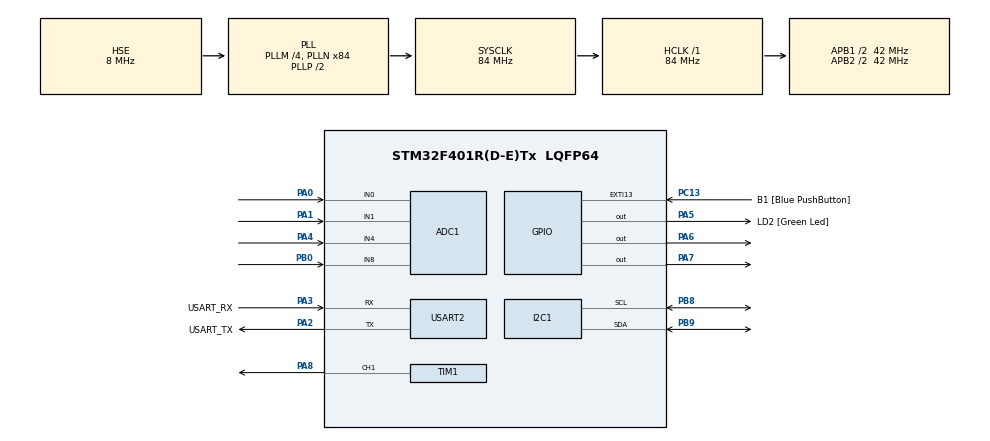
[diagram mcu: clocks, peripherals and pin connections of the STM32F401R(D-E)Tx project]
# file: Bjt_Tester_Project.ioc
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ADC1.Channel-0\#ChannelRegularConversion=ADC_CHANNEL_0
ADC1.ClockPrescaler=ADC_CLOCK_SYNC_PCLK_DIV2
ADC1.ContinuousConvMode=ENABLE
ADC1.InjNumberOfConversion=0
ADC1.NbrOfConversionFlag=1
ADC1.Rank-0\#ChannelRegularConversion=1
ADC1.SamplingTime-0\#ChannelRegularConversion=ADC_SAMPLETIME_3CYCLES
ADC1.master=1
Mcu.Family=STM32F4
Mcu.Name=STM32F401R(D-E)Tx
Mcu.Package=LQFP64
NVIC.PVD_IRQn=true\:0\:0\:false\:false\:true\:true\:true\:true
NVIC.PriorityGroup=NVIC_PRIORITYGROUP_0
PA0-WKUP.Signal=ADCx_IN0
PA1.Signal=ADCx_IN1
PA13.GPIO_Label=TMS
PA13.Mode=Serial_Wire
PA13.Signal=SYS_JTMS-SWDIO
PA14.GPIO_Label=TCK
PA14.Mode=Serial_Wire
PA14.Signal=SYS_JTCK-SWCLK
PA2.GPIO_Label=USART_TX
PA2.GPIO_Mode=GPIO_MODE_AF_PP
PA2.GPIO_PuPd=GPIO_NOPULL
PA2.GPIO_Speed=GPIO_SPEED_FREQ_LOW
PA2.Mode=Asynchronous
PA2.Signal=USART2_TX
PA3.GPIO_Label=USART_RX
PA3.GPIO_Mode=GPIO_MODE_AF_PP
PA3.GPIO_PuPd=GPIO_NOPULL
PA3.GPIO_Speed=GPIO_SPEED_FREQ_LOW
PA3.Mode=Asynchronous
PA3.Signal=USART2_RX
PA4.Signal=ADCx_IN4
PA5.GPIO_Label=LD2 [Green Led]
PA5.GPIO_Mode=GPIO_MODE_OUTPUT_PP
PA5.GPIO_PuPd=GPIO_NOPULL
PA5.GPIO_Speed=GPIO_SPEED_FREQ_LOW
PA5.Signal=GPIO_Output
PA6.Signal=GPIO_Output
PA7.Signal=GPIO_Output
PA8.Signal=S_TIM1_CH1
PB0.Signal=ADCx_IN8
PB3.GPIO_Label=SWO
PB3.Signal=SYS_JTDO-SWO
PB8.Mode=I2C
PB8.Signal=I2C1_SCL
PB9.Mode=I2C
PB9.Signal=I2C1_SDA
PC13-ANTI_TAMP.GPIO_Label=B1 [Blue PushButton]
PC13-ANTI_TAMP.GPIO_ModeDefaultEXTI=GPIO_MODE_IT_FALLING
PC13-ANTI_TAMP.GPIO_PuPd=GPIO_NOPULL
PC13-ANTI_TAMP.Signal=GPXTI13
PC14-OSC32_IN.Signal=RCC_OSC32_IN
PC15-OSC32_OUT.Signal=RCC_OSC32_OUT
PH0\ -\ OSC_IN.Mode=HSE-External-Oscillator
PH0\ -\ OSC_IN.Signal=RCC_OSC_IN
PH1\ -\ OSC_OUT.Mode=HSE-External-Oscillator
PH1\ -\ OSC_OUT.Signal=RCC_OSC_OUT
ProjectManager.HeapSize=0x200
ProjectManager.StackSize=0x400
ProjectManager.TargetToolchain=STM32CubeIDE
RCC.48MHZClocksFreq_Value=24000000
RCC.AHBFreq_Value=84000000
RCC.APB1CLKDivider=RCC_HCLK_DIV2
RCC.APB1Freq_Value=42000000
RCC.APB1TimFreq_Value=84000000
RCC.APB2CLKDivider=RCC_HCLK_DIV2
RCC.APB2Freq_Value=42000000
RCC.APB2TimFreq_Value=84000000
RCC.CortexFreq_Value=84000000
RCC.EnbaleCSS=false
RCC.HCLKFreq_Value=84000000
RCC.HSE_VALUE=8000000
RCC.HSI_VALUE=16000000
RCC.LSE_VALUE=32768
RCC.PLLM=4
RCC.PLLN=84
RCC.PLLQ=7
RCC.PLLSourceVirtual=RCC_PLLSOURCE_HSE
RCC.SYSCLKFreq_VALUE=84000000
RCC.SYSCLKSource=RCC_SYSCLKSOURCE_PLLCLK
RCC.VCOOutputFreq_Value=168000000
SH.ADCx_IN0.0=ADC1_IN0,IN0
SH.ADCx_IN1.0=ADC1_IN1,IN1
SH.ADCx_IN4.0=ADC1_IN4,IN4
SH.ADCx_IN8.0=ADC1_IN8,IN8
SH.S_TIM1_CH1.0=TIM1_CH1,PWM Generation1 CH1
TIM1.Channel-PWM\ Generation1\ CH1=TIM_CHANNEL_1
TIM1.Period=100
TIM1.Prescaler=83
USART2.VirtualMode=VM_ASYNC
board=NUCLEO-F401RE

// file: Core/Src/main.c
/* USER CODE BEGIN Header */
/**
 ******************************************************************************
 * @file           : main.c
 * @brief          : Main program body
 ******************************************************************************
 * @attention
 *
 * Copyright (c) 2024 STMicroelectronics.
 * All rights reserved.
 *
 * This software is licensed under terms that can be found in the LICENSE file
 * in the root directory of this software component.
 * If no LICENSE file comes with this software, it is provided AS-IS.
 *
 ******************************************************************************
 */
/* USER CODE END Header */
#include "main.h"

/* USER CODE BEGIN Includes */
#include"math.h"
/* USER CODE END Includes */

ADC_HandleTypeDef hadc1;

I2C_HandleTypeDef hi2c1;

TIM_HandleTypeDef htim1;

UART_HandleTypeDef huart2;

/* USER CODE BEGIN PV */
int voltage2 = 0;
int voltage1 = 0;
int voltage3 = 0;

int Ic = 0;
int Ib = 0;

double Iac = 0.0;
double Iab = 0.0;

int cnt = 0;

int B = 0;
int B3 = 0;

int volt2 = 0;
int volt1 = 0;
int volt3 = 0;
int flag = 0;

int difference = 0;
int difference1 = 0;
int difference2 = 0;
int threshold = 868;

int row = 0;
int col = 0;

char npn0[] = "BJT Is NPN EBC    ";
char npn1[] = "BJT Is NPN CBE    ";
char pnp0[] = "BJT IS PNP  EBC   ";
char pnp1[] = "BJT IS PNP  CBE   ";
char error[] = "There is not BJT ";
char er[] = "ERROR";

char B1[20] = "";
char B2[20] = "";
char volta[20] = "";
/* USER CODE END PV */

void SystemClock_Config(void);
static void MX_GPIO_Init(void);
static void MX_USART2_UART_Init(void);
static void MX_ADC1_Init(void);
static void MX_TIM1_Init(void);
static void MX_I2C1_Init(void);

/* USER CODE BEGIN 0 */
uint32_t Read_ADC(uint32_t channel) {
	ADC_ChannelConfTypeDef sConfig = { 0 };
	sConfig.Channel = channel;
	sConfig.Rank = 1;

	// ADC kanalını seç ve başlat
	HAL_ADC_ConfigChannel(&hadc1, &sConfig);
	HAL_ADC_Start(&hadc1);
	HAL_ADC_PollForConversion(&hadc1, HAL_MAX_DELAY);
	uint32_t adc_value = HAL_ADC_GetValue(&hadc1);
	HAL_ADC_Stop(&hadc1);
	return adc_value;
}

/* USER CODE END 0 */

int main(void) {

	/* MCU Configuration--------------------------------------------------------*/

	/* Reset of all peripherals, Initializes the Flash interface and the Systick. */
	HAL_Init();

	/* Configure the system clock */
	SystemClock_Config();

	/* Initialize all configured peripherals */
	MX_GPIO_Init();
	MX_USART2_UART_Init();
	MX_ADC1_Init();
	MX_TIM1_Init();
	MX_I2C1_Init();
	/* USER CODE BEGIN 2 */
	lcd_init();

	HAL_TIM_PWM_Start(&htim1, TIM_CHANNEL_1);
	__HAL_TIM_SET_COMPARE(&htim1, TIM_CHANNEL_1, 0);
	HAL_GPIO_WritePin(GPIOA, GPIO_PIN_6, 0);
	HAL_GPIO_WritePin(GPIOA, GPIO_PIN_7, 0);

	/* USER CODE END 2 */

	/* Infinite loop */
	while (1) {

		/* USER CODE BEGIN 3 */
		flag = 0;
		// HAL_GPIO_WritePin(GPIOA, GPIO_PIN_4, 1);
		__HAL_TIM_SET_COMPARE(&htim1, TIM_CHANNEL_1, 100);
		HAL_GPIO_WritePin(GPIOA, GPIO_PIN_7, 0);

		HAL_Delay(100);

		voltage2 = Read_ADC(ADC_CHANNEL_0);
		volt2 = (voltage2 / 1023 * 5.0);

		//HAL_GPIO_WritePin(GPIOA, GPIO_PIN_4, 0);
		__HAL_TIM_SET_COMPARE(&htim1, TIM_CHANNEL_1, 0);
		HAL_GPIO_WritePin(GPIOA, GPIO_PIN_7, 1);

		HAL_Delay(100);

		voltage3 = Read_ADC(ADC_CHANNEL_8);

		difference = abs(voltage3 - voltage2);

		if (difference < threshold) {
			HAL_UART_Transmit(&huart2, error, strlen(error), 100);
			lcd_put_cur(0, 0);
			lcd_send_string(error);
			HAL_Delay(300);
		}

		//BJT İS NPN
		else if (voltage3 > voltage2) {

			__HAL_TIM_SET_COMPARE(&htim1, TIM_CHANNEL_1, 100);
			HAL_GPIO_WritePin(GPIOA, GPIO_PIN_6, 1);
			HAL_GPIO_WritePin(GPIOA, GPIO_PIN_7, 0);

			HAL_Delay(100);

			voltage2 = Read_ADC(ADC_CHANNEL_0);
			volt2 = (voltage2 / 1023 * 5.0);

			voltage3 = Read_ADC(ADC_CHANNEL_8);
			volt3 = (voltage3 / 1023 * 5.0);

			difference1 = abs(voltage3 - voltage2); //voltage difference between pin2 and pin3

			HAL_Delay(100);

			HAL_GPIO_WritePin(GPIOA, GPIO_PIN_6, 0);
			__HAL_TIM_SET_COMPARE(&htim1, TIM_CHANNEL_1, 100);
			HAL_GPIO_WritePin(GPIOA, GPIO_PIN_7, 1);

			HAL_Delay(100);

			voltage1 = Read_ADC(ADC_CHANNEL_1);
			volt1 = (voltage1 / 1023 * 5.0);

			voltage2 = Read_ADC(ADC_CHANNEL_0);
			volt2 = (voltage2 / 1023 * 5.0);

			difference2 = abs(voltage2 - voltage1); //voltage difference between pin1 and pin2

			if (difference1 > difference2) {
				HAL_UART_Transmit(&huart2, npn1, strlen(npn1), 100);  //npn cbe

				lcd_put_cur(0, 0);
				lcd_send_string(npn1);
				HAL_Delay(300);
//**********************************************************
				//b HESABI için confg
				HAL_GPIO_WritePin(GPIOA, GPIO_PIN_6, 1);
				__HAL_TIM_SET_COMPARE(&htim1, TIM_CHANNEL_1, 100);
				HAL_GPIO_WritePin(GPIOA, GPIO_PIN_7, 0);
				voltage1 = Read_ADC(ADC_CHANNEL_1);

				volt1 = (voltage1 / 4095 * 3.3);			 //vc

				voltage2 = Read_ADC(ADC_CHANNEL_0);
				volt2 = (voltage2 / 4095 * 3.3);			 //vb

				Ic = abs(voltage1 - 4095);
				Ib = abs(voltage2 - 4095);
				B = Ic / Ib;
				sprintf(B1, "Bs= %d", B);
				lcd_put_cur(1, 0);
				lcd_send_string(B1);

				HAL_GPIO_WritePin(GPIOA, GPIO_PIN_6, 1);
				__HAL_TIM_SET_COMPARE(&htim1, TIM_CHANNEL_1, 31);
				HAL_GPIO_WritePin(GPIOA, GPIO_PIN_7, 0);
				Ic = 0;
				Ib = 0;
				B3 = 0;
				while (1) {

					if (flag == 10) {
						break;
					}

					voltage2 = Read_ADC(ADC_CHANNEL_0);
					voltage1 = Read_ADC(ADC_CHANNEL_1);
					Ic = abs(voltage1 - 4095);
					Ib = abs(voltage2 - 1241);
					B3 = Ic / Ib;
					sprintf(B2,
							"Ba= %d voltage2=%d    voltateg1=%d   Ib=%d  ıc=%d\n\r",
							B3, voltage2, voltage1, Ib, Ic);
					sprintf(volta, "Ba= %d   ", B3);
					lcd_put_cur(1, 6);
					lcd_send_string(volta);
					HAL_UART_Transmit(&huart2, B2, strlen(B2), 1000);
					flag++;
					HAL_Delay(1000);

				}
				//***********************************************************
			}

			else if (difference1 <= difference2) {
				HAL_UART_Transmit(&huart2, npn0, strlen(npn0), 100);//npn ebc
				// lcd_init ();
				//lcd_clear();
				lcd_put_cur(0, 0);
				lcd_send_string(npn0);
				HAL_Delay(300);
				//**********************************************************
				//b HESABI için confg
				HAL_GPIO_WritePin(GPIOA, GPIO_PIN_6, 0);
				__HAL_TIM_SET_COMPARE(&htim1, TIM_CHANNEL_1, 100);
				// HAL_GPIO_WritePin(GPIOA, GPIO_PIN_4, 1);
				HAL_GPIO_WritePin(GPIOA, GPIO_PIN_7, 1);
				voltage1 = Read_ADC(ADC_CHANNEL_8);

				volt1 = (voltage1 / 4095 * 3.3);			 				//vc

				voltage2 = Read_ADC(ADC_CHANNEL_0);
				volt2 = (voltage2 / 4095 * 3.3);			 				//vb

				Ic = abs(voltage1 - 4095);
				Ib = abs(voltage2 - 4095);
				B = Ic / Ib;
				sprintf(B1, "Bs= %d", B);
				lcd_put_cur(1, 0);
				lcd_send_string(B1);
				//lcd_send_data(B);

				HAL_GPIO_WritePin(GPIOA, GPIO_PIN_6, 0);
				__HAL_TIM_SET_COMPARE(&htim1, TIM_CHANNEL_1, 31);
				HAL_GPIO_WritePin(GPIOA, GPIO_PIN_7, 1);
				Ic = 0;
				Ib = 0;
				B3 = 0;

				while (1) {

					if (flag == 10) {
						break;
					}

					voltage2 = Read_ADC(ADC_CHANNEL_0);

					//	volt2 = (voltage2/4095*3.3);//vb

					voltage1 = Read_ADC(ADC_CHANNEL_8);

					//volt1 = (voltage1/4095*3.3);//vc

					Ic = abs(voltage1 - 4095);
					Ib = abs(voltage2 - 1241);
					//									 Iac=Ic/2000;

					B3 = Ic / Ib;

					// B3=Ic/Ib;
					sprintf(B2,
							"Ba= %d voltage2=%d    voltateg1=%d   Ib=%d  ıc=%d\n\r",
							B3, voltage2, voltage1, Ib, Ic);
					sprintf(volta, "Ba= %d    ", B3);
					lcd_put_cur(1, 8);
					lcd_send_string(volta);
					HAL_UART_Transmit(&huart2, B2, strlen(B2), 1000);

					HAL_Delay(1000);

					flag++;

				}

			}

		}
		//bjt pnp
		else if (voltage3 < voltage2) {
			HAL_GPIO_WritePin(GPIOA, GPIO_PIN_6, 1);
			__HAL_TIM_SET_COMPARE(&htim1, TIM_CHANNEL_1, 0);
			//HAL_GPIO_WritePin(GPIOA, GPIO_PIN_4, 0);
			HAL_GPIO_WritePin(GPIOA, GPIO_PIN_7, 0);

			HAL_Delay(100);

			voltage2 = Read_ADC(ADC_CHANNEL_0);
			// volt2 = (voltage2/1023*5.0);
			voltage1 = Read_ADC(ADC_CHANNEL_1);

			// volt1 = (voltage1/1023*5.0);
			difference1 = abs(voltage1 - voltage2); //voltage difference between pin2 and pin1

			HAL_Delay(100);

			HAL_GPIO_WritePin(GPIOA, GPIO_PIN_6, 0);
			__HAL_TIM_SET_COMPARE(&htim1, TIM_CHANNEL_1, 0);
			//HAL_GPIO_WritePin(GPIOA, GPIO_PIN_4, 0);
			HAL_GPIO_WritePin(GPIOA, GPIO_PIN_7, 1);

			HAL_Delay(100);

			voltage3 = Read_ADC(ADC_CHANNEL_8);
			// volt3 = (voltage3/1023*5.0);

			voltage2 = Read_ADC(ADC_CHANNEL_0);
			//volt2 = (voltage2/1023*5.0);

			difference2 = abs(voltage2 - voltage3); //voltage difference between pin3 and pin2

			if (difference1 > difference2) {
				HAL_UART_Transmit(&huart2, pnp0, strlen(pnp0), 100);
				// lcd_init ();
				//lcd_clear();
				lcd_put_cur(0, 0);
				lcd_send_string(pnp0);
				HAL_Delay(300);
				//****************************
				//b HESABI için confg
				HAL_GPIO_WritePin(GPIOA, GPIO_PIN_6, 1);
				__HAL_TIM_SET_COMPARE(&htim1, TIM_CHANNEL_1, 0);
				// HAL_GPIO_WritePin(GPIOA, GPIO_PIN_4, 1);
				HAL_GPIO_WritePin(GPIOA, GPIO_PIN_7, 0);
				voltage1 = Read_ADC(ADC_CHANNEL_8);

				volt1 = (voltage1 / 4095 * 3.3);							//vc

				voltage2 = Read_ADC(ADC_CHANNEL_0);
				volt2 = (voltage2 / 4095 * 3.3);							//vb

				Ic = abs(voltage1 - 0);
				Ib = abs(voltage2 - 0);
				B = Ic / Ib;
				sprintf(B1, "Bs= %d", B);
				lcd_put_cur(1, 0);
				lcd_send_string(B1);
				//lcd_send_data(B);

				HAL_GPIO_WritePin(GPIOA, GPIO_PIN_6, 1);
				__HAL_TIM_SET_COMPARE(&htim1, TIM_CHANNEL_1, 62);
				HAL_GPIO_WritePin(GPIOA, GPIO_PIN_7, 0);
				Ic = 0;
				Ib = 0;
				B3 = 0;
				while (1) {

					if (flag == 10) {
						break;
					}

					voltage2 = Read_ADC(ADC_CHANNEL_0);

					//	volt2 = (voltage2/4095*3.3);//vb

					voltage1 = Read_ADC(ADC_CHANNEL_8);

					//volt1 = (voltage1/4095*3.3);//vc

					Ic = abs(voltage1 - 0);
					Ib = abs(voltage2 - 2482);
					//									 Iac=Ic/2000;

					B3 = Ic / Ib;

					// B3=Ic/Ib;
					sprintf(B2,
							"Ba= %d voltage2=%d    voltateg1=%d   Ib=%d  ıc=%d\n\r",
							B3, voltage2, voltage1, Ib, Ic);
					sprintf(volta, "Ba= %d    ", B3);
					lcd_put_cur(1, 6);
					lcd_send_string(volta);
					HAL_UART_Transmit(&huart2, B2, strlen(B2), 1000);
					flag++;
					HAL_Delay(1000);

				}
				//********************
			} else if (difference1 <= difference2) {
				HAL_UART_Transmit(&huart2, pnp1, strlen(pnp1), 100);
				//lcd_init ();
				// lcd_clear();
				lcd_put_cur(0, 0);
				lcd_send_string(pnp1);
				HAL_Delay(300);
				//****************************
				//b HESABI için confg
				HAL_GPIO_WritePin(GPIOA, GPIO_PIN_6, 0);
				__HAL_TIM_SET_COMPARE(&htim1, TIM_CHANNEL_1, 0);
				// HAL_GPIO_WritePin(GPIOA, GPIO_PIN_4, 1);
				HAL_GPIO_WritePin(GPIOA, GPIO_PIN_7, 1);
				voltage1 = Read_ADC(ADC_CHANNEL_1);

				volt1 = (voltage1 / 4095 * 3.3);							//vc

				voltage2 = Read_ADC(ADC_CHANNEL_0);
				volt2 = (voltage2 / 4095 * 3.3);							//vb

				Ic = abs(voltage1 - 0);
				Ib = abs(voltage2 - 0);
				B = Ic / Ib;
				sprintf(B1, "Bs= %d", B);
				lcd_put_cur(1, 0);
				lcd_send_string(B1);
				//lcd_send_data(B);

				HAL_GPIO_WritePin(GPIOA, GPIO_PIN_6, 0);
				__HAL_TIM_SET_COMPARE(&htim1, TIM_CHANNEL_1, 62);
				HAL_GPIO_WritePin(GPIOA, GPIO_PIN_7, 1);
				Ic = 0;
				Ib = 0;
				B3 = 0;
				while (1) {

					if (flag == 10) {
						break;
					}

					voltage2 = Read_ADC(ADC_CHANNEL_0);

					//	volt2 = (voltage2/4095*3.3);//vb

					voltage1 = Read_ADC(ADC_CHANNEL_1);

					//volt1 = (voltage1/4095*3.3);//vc

					Ic = abs(voltage1 - 0);
					Ib = abs(voltage2 - 2482);
					//									 Iac=Ic/2000;

					B3 = Ic / Ib;

					// B3=Ic/Ib;
					sprintf(B2,
							"Ba= %d voltage2=%d    voltateg1=%d   Ib=%d  ıc=%d\n\r",
							B3, voltage2, voltage1, Ib, Ic);
					sprintf(volta, "Ba= %d    ", B3);
					lcd_put_cur(1, 6);
					lcd_send_string(volta);
					HAL_UART_Transmit(&huart2, B2, strlen(B2), 1000);
					flag++;
					HAL_Delay(1000);

				}

			}

		}

		else {
			HAL_UART_Transmit(&huart2, er, strlen(er), 100);
			//lcd_init ();
			// lcd_clear();
			lcd_put_cur(0, 0);
			lcd_send_string(er);
		}

	}
	/* USER CODE END 3 */
}

void SystemClock_Config(void) {
	RCC_OscInitTypeDef RCC_OscInitStruct = { 0 };
	RCC_ClkInitTypeDef RCC_ClkInitStruct = { 0 };

	/** Configure the main internal regulator output voltage
	 */
	__HAL_RCC_PWR_CLK_ENABLE();
	__HAL_PWR_VOLTAGESCALING_CONFIG(PWR_REGULATOR_VOLTAGE_SCALE2);

	/** Initializes the RCC Oscillators according to the specified parameters
	 * in the RCC_OscInitTypeDef structure.
	 */
	RCC_OscInitStruct.OscillatorType = RCC_OSCILLATORTYPE_HSE;
	RCC_OscInitStruct.HSEState = RCC_HSE_ON;
	RCC_OscInitStruct.PLL.PLLState = RCC_PLL_ON;
	RCC_OscInitStruct.PLL.PLLSource = RCC_PLLSOURCE_HSE;
	RCC_OscInitStruct.PLL.PLLM = 4;
	RCC_OscInitStruct.PLL.PLLN = 84;
	RCC_OscInitStruct.PLL.PLLP = RCC_PLLP_DIV2;
	RCC_OscInitStruct.PLL.PLLQ = 7;
	if (HAL_RCC_OscConfig(&RCC_OscInitStruct) != HAL_OK) {
		Error_Handler();
	}

	/** Initializes the CPU, AHB and APB buses clocks
	 */
	RCC_ClkInitStruct.ClockType = RCC_CLOCKTYPE_HCLK | RCC_CLOCKTYPE_SYSCLK
			| RCC_CLOCKTYPE_PCLK1 | RCC_CLOCKTYPE_PCLK2;
	RCC_ClkInitStruct.SYSCLKSource = RCC_SYSCLKSOURCE_PLLCLK;
	RCC_ClkInitStruct.AHBCLKDivider = RCC_SYSCLK_DIV1;
	RCC_ClkInitStruct.APB1CLKDivider = RCC_HCLK_DIV2;
	RCC_ClkInitStruct.APB2CLKDivider = RCC_HCLK_DIV2;

	if (HAL_RCC_ClockConfig(&RCC_ClkInitStruct, FLASH_LATENCY_2) != HAL_OK) {
		Error_Handler();
	}
}

static void MX_ADC1_Init(void) {

	ADC_ChannelConfTypeDef sConfig = { 0 };

	/** Configure the global features of the ADC (Clock, Resolution, Data Alignment and number of conversion)
	 */
	hadc1.Instance = ADC1;
	hadc1.Init.ClockPrescaler = ADC_CLOCK_SYNC_PCLK_DIV2;
	hadc1.Init.Resolution = ADC_RESOLUTION_12B;
	hadc1.Init.ScanConvMode = DISABLE;
	hadc1.Init.ContinuousConvMode = ENABLE;
	hadc1.Init.DiscontinuousConvMode = DISABLE;
	hadc1.Init.ExternalTrigConvEdge = ADC_EXTERNALTRIGCONVEDGE_NONE;
	hadc1.Init.ExternalTrigConv = ADC_SOFTWARE_START;
	hadc1.Init.DataAlign = ADC_DATAALIGN_RIGHT;
	hadc1.Init.NbrOfConversion = 1;
	hadc1.Init.DMAContinuousRequests = DISABLE;
	hadc1.Init.EOCSelection = ADC_EOC_SINGLE_CONV;
	if (HAL_ADC_Init(&hadc1) != HAL_OK) {
		Error_Handler();
	}

	/** Configure for the selected ADC regular channel its corresponding rank in the sequencer and its sample time.
	 */
	sConfig.Channel = ADC_CHANNEL_0;
	sConfig.Rank = 1;
	sConfig.SamplingTime = ADC_SAMPLETIME_3CYCLES;
	if (HAL_ADC_ConfigChannel(&hadc1, &sConfig) != HAL_OK) {
		Error_Handler();
	}

}

static void MX_I2C1_Init(void) {

	hi2c1.Instance = I2C1;
	hi2c1.Init.ClockSpeed = 100000;
	hi2c1.Init.DutyCycle = I2C_DUTYCYCLE_2;
	hi2c1.Init.OwnAddress1 = 0;
	hi2c1.Init.AddressingMode = I2C_ADDRESSINGMODE_7BIT;
	hi2c1.Init.DualAddressMode = I2C_DUALADDRESS_DISABLE;
	hi2c1.Init.OwnAddress2 = 0;
	hi2c1.Init.GeneralCallMode = I2C_GENERALCALL_DISABLE;
	hi2c1.Init.NoStretchMode = I2C_NOSTRETCH_DISABLE;
	if (HAL_I2C_Init(&hi2c1) != HAL_OK) {
		Error_Handler();
	}

}

static void MX_TIM1_Init(void) {

	TIM_MasterConfigTypeDef sMasterConfig = { 0 };
	TIM_OC_InitTypeDef sConfigOC = { 0 };
	TIM_BreakDeadTimeConfigTypeDef sBreakDeadTimeConfig = { 0 };

	htim1.Instance = TIM1;
	htim1.Init.Prescaler = 83;
	htim1.Init.CounterMode = TIM_COUNTERMODE_UP;
	htim1.Init.Period = 100;
	htim1.Init.ClockDivision = TIM_CLOCKDIVISION_DIV1;
	htim1.Init.RepetitionCounter = 0;
	htim1.Init.AutoReloadPreload = TIM_AUTORELOAD_PRELOAD_DISABLE;
	if (HAL_TIM_PWM_Init(&htim1) != HAL_OK) {
		Error_Handler();
	}
	sMasterConfig.MasterOutputTrigger = TIM_TRGO_RESET;
	sMasterConfig.MasterSlaveMode = TIM_MASTERSLAVEMODE_DISABLE;
	if (HAL_TIMEx_MasterConfigSynchronization(&htim1, &sMasterConfig)
			!= HAL_OK) {
		Error_Handler();
	}
	sConfigOC.OCMode = TIM_OCMODE_PWM1;
	sConfigOC.Pulse = 0;
	sConfigOC.OCPolarity = TIM_OCPOLARITY_HIGH;
	sConfigOC.OCNPolarity = TIM_OCNPOLARITY_HIGH;
	sConfigOC.OCFastMode = TIM_OCFAST_DISABLE;
	sConfigOC.OCIdleState = TIM_OCIDLESTATE_RESET;
	sConfigOC.OCNIdleState = TIM_OCNIDLESTATE_RESET;
	if (HAL_TIM_PWM_ConfigChannel(&htim1, &sConfigOC, TIM_CHANNEL_1)
			!= HAL_OK) {
		Error_Handler();
	}
	sBreakDeadTimeConfig.OffStateRunMode = TIM_OSSR_DISABLE;
	sBreakDeadTimeConfig.OffStateIDLEMode = TIM_OSSI_DISABLE;
	sBreakDeadTimeConfig.LockLevel = TIM_LOCKLEVEL_OFF;
	sBreakDeadTimeConfig.DeadTime = 0;
	sBreakDeadTimeConfig.BreakState = TIM_BREAK_DISABLE;
	sBreakDeadTimeConfig.BreakPolarity = TIM_BREAKPOLARITY_HIGH;
	sBreakDeadTimeConfig.AutomaticOutput = TIM_AUTOMATICOUTPUT_DISABLE;
	if (HAL_TIMEx_ConfigBreakDeadTime(&htim1, &sBreakDeadTimeConfig)
			!= HAL_OK) {
		Error_Handler();
	}
	HAL_TIM_MspPostInit(&htim1);

}

static void MX_USART2_UART_Init(void) {

	huart2.Instance = USART2;
	huart2.Init.BaudRate = 115200;
	huart2.Init.WordLength = UART_WORDLENGTH_8B;
	huart2.Init.StopBits = UART_STOPBITS_1;
	huart2.Init.Parity = UART_PARITY_NONE;
	huart2.Init.Mode = UART_MODE_TX_RX;
	huart2.Init.HwFlowCtl = UART_HWCONTROL_NONE;
	huart2.Init.OverSampling = UART_OVERSAMPLING_16;
	if (HAL_UART_Init(&huart2) != HAL_OK) {
		Error_Handler();
	}

}

static void MX_GPIO_Init(void) {
	GPIO_InitTypeDef GPIO_InitStruct = { 0 };

	/* GPIO Ports Clock Enable */
	__HAL_RCC_GPIOC_CLK_ENABLE();
	__HAL_RCC_GPIOH_CLK_ENABLE();
	__HAL_RCC_GPIOA_CLK_ENABLE();
	__HAL_RCC_GPIOB_CLK_ENABLE();

	/*Configure GPIO pin Output Level */
	HAL_GPIO_WritePin(GPIOA, LD2_Pin | GPIO_PIN_6 | GPIO_PIN_7, GPIO_PIN_RESET);

	/*Configure GPIO pin : B1_Pin */
	GPIO_InitStruct.Pin = B1_Pin;
	GPIO_InitStruct.Mode = GPIO_MODE_IT_FALLING;
	GPIO_InitStruct.Pull = GPIO_NOPULL;
	HAL_GPIO_Init(B1_GPIO_Port, &GPIO_InitStruct);

	/*Configure GPIO pins : LD2_Pin PA6 PA7 */
	GPIO_InitStruct.Pin = LD2_Pin | GPIO_PIN_6 | GPIO_PIN_7;
	GPIO_InitStruct.Mode = GPIO_MODE_OUTPUT_PP;
	GPIO_InitStruct.Pull = GPIO_NOPULL;
	GPIO_InitStruct.Speed = GPIO_SPEED_FREQ_LOW;
	HAL_GPIO_Init(GPIOA, &GPIO_InitStruct);

}

void Error_Handler(void) {
	__disable_irq();
	while (1) {
	}
}
